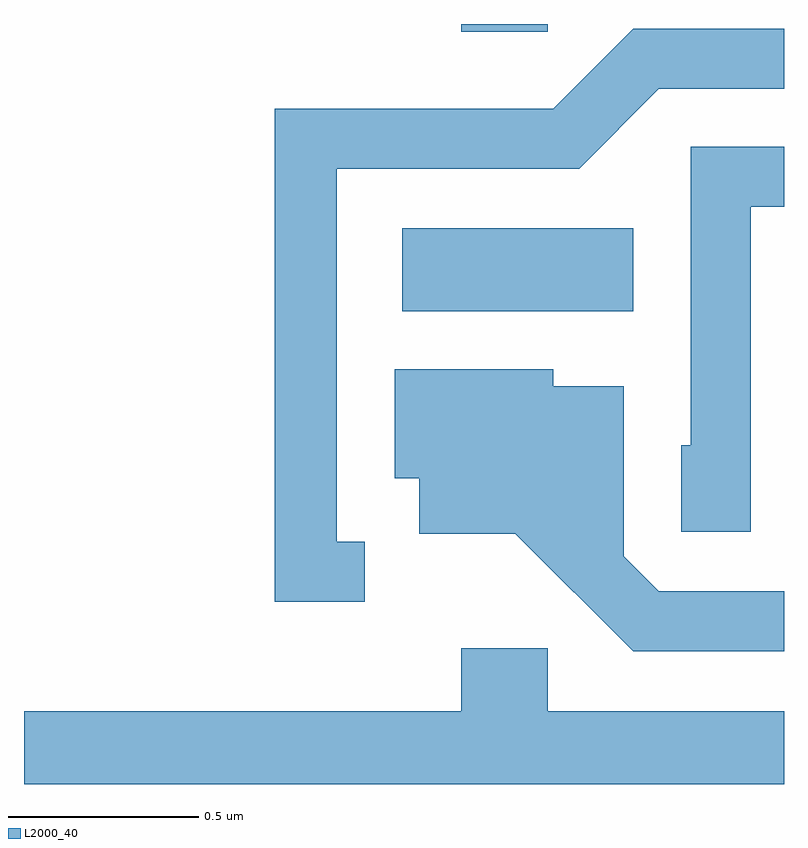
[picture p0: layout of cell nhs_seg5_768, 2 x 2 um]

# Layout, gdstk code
import gdstk
lib = gdstk.Library(unit=1e-6, precision=1e-09)
def R(c, l, rs):  # rectangles x0, y0, x1, y1
    for r in rs: c.add(gdstk.rectangle(r[:2], r[2:], *l))
def P(c, l, *ps):  # polygons
    for p in ps: c.add(gdstk.Polygon(p, *l))
L2000_40 = (2000, 40)

nhs_seg5_768 = lib.new_cell('nhs_seg5_768')
R(nhs_seg5_768, L2000_40, [(191.606,1480.316,192.214,1480.534), (191.761,1481.051,191.989,1481.072)])
P(nhs_seg5_768, L2000_40, [(191.508,1479.709),(191.434,1479.709),(191.434,1480.691),(192.072,1480.691),(192.282,1480.901),(192.611,1480.901),(192.611,1481.059),(192.214,1481.059),(192.004,1480.849),(191.271,1480.849),(191.271,1479.551),(191.508,1479.551)],
  [(192.524,1480.591),(192.611,1480.591),(192.611,1480.749),(192.366,1480.749),(192.366,1479.964),(192.341,1479.964),(192.341,1479.736),(192.524,1479.736)],
  [(192.611,1479.579),(192.282,1479.579),(192.189,1479.672),(192.189,1480.119),(192.004,1480.119),(192.004,1480.164),(191.586,1480.164),(191.586,1479.876),(191.651,1479.876),(191.651,1479.731),(191.904,1479.731),(192.214,1479.421),(192.611,1479.421)],
  [(192.611,1479.264),(191.989,1479.264),(191.989,1479.429),(191.761,1479.429),(191.761,1479.264),(190.611,1479.264),(190.611,1479.072),(192.611,1479.072)])

lib.write_gds('nhs_seg5_768.gds')
